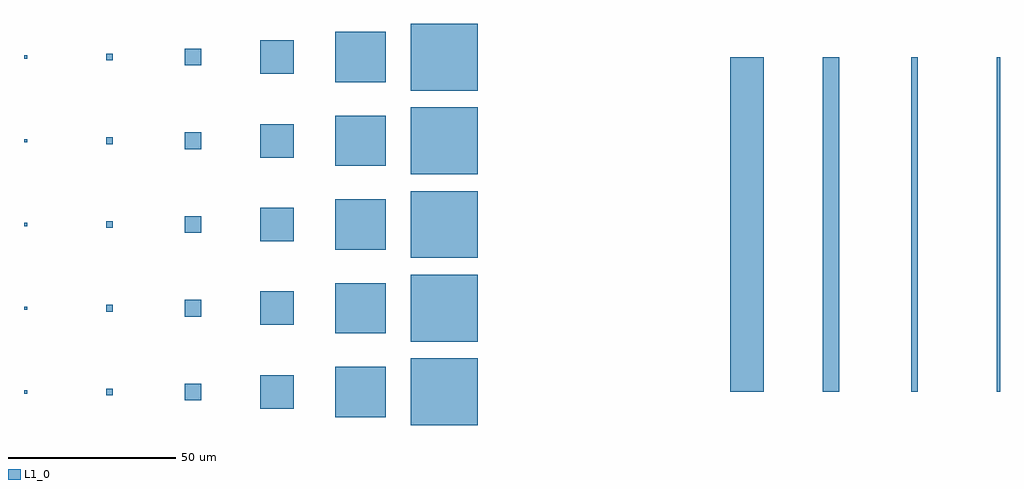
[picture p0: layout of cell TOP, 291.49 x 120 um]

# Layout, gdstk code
import gdstk
lib = gdstk.Library(unit=1e-6, precision=1e-09)
def R(c, l, rs):  # rectangles x0, y0, x1, y1
    for r in rs: c.add(gdstk.rectangle(r[:2], r[2:], *l))
def A(c, l, x, y, w, h, nx, ny, dx, dy):  # array of equal rectangles
    R(c, l, [(x+i*dx, y+j*dy, x+i*dx+w, y+j*dy+h) for i in range(nx) for j in range(ny)])
L1_0 = (1, 0)

top = lib.new_cell('TOP')
A(top, L1_0, 47.75, -60, 20, 20, 1, 5, 0, 25)
A(top, L1_0, 25.25, -57.5, 15, 15, 1, 5, 0, 25)
A(top, L1_0, 2.75, -55, 10, 10, 1, 5, 0, 25)
A(top, L1_0, -19.75, -52.5, 5, 5, 1, 5, 0, 25)
A(top, L1_0, -43.25, -51, 2, 2, 1, 5, 0, 25)
A(top, L1_0, -67.75, -50.5, 1, 1, 1, 5, 0, 25)
R(top, L1_0, [(143.239,-50,153.239,50), (170.739,-50,175.739,50), (197.239,-50,199.239,50), (222.739,-50,223.739,50)])

lib.write_gds('TOP.gds')
